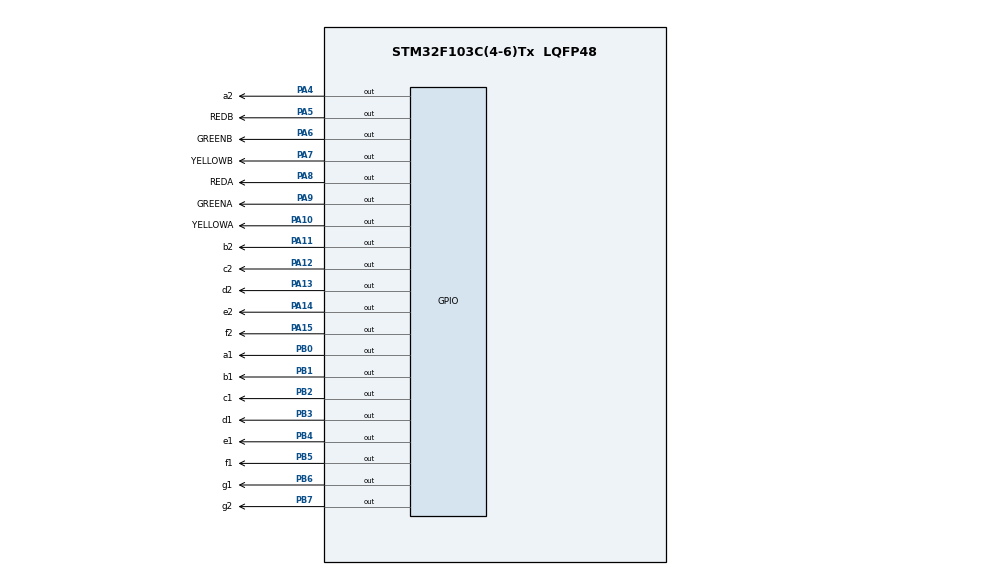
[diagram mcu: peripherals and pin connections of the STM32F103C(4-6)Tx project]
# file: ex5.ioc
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Mcu.Family=STM32F1
Mcu.Name=STM32F103C(4-6)Tx
Mcu.Package=LQFP48
NVIC.PriorityGroup=NVIC_PRIORITYGROUP_4
PA10.GPIO_Label=YELLOWA
PA10.Signal=GPIO_Output
PA11.GPIO_Label=b2
PA11.Signal=GPIO_Output
PA12.GPIO_Label=c2
PA12.Signal=GPIO_Output
PA13.GPIO_Label=d2
PA13.Signal=GPIO_Output
PA14.GPIO_Label=e2
PA14.Signal=GPIO_Output
PA15.GPIO_Label=f2
PA15.Signal=GPIO_Output
PA4.GPIO_Label=a2
PA4.Signal=GPIO_Output
PA5.GPIO_Label=REDB
PA5.Signal=GPIO_Output
PA6.GPIO_Label=GREENB
PA6.Signal=GPIO_Output
PA7.GPIO_Label=YELLOWB
PA7.Signal=GPIO_Output
PA8.GPIO_Label=REDA
PA8.Signal=GPIO_Output
PA9.GPIO_Label=GREENA
PA9.Signal=GPIO_Output
PB0.GPIO_Label=a1
PB0.Signal=GPIO_Output
PB1.GPIO_Label=b1
PB1.Signal=GPIO_Output
PB2.GPIO_Label=c1
PB2.Signal=GPIO_Output
PB3.GPIO_Label=d1
PB3.Signal=GPIO_Output
PB4.GPIO_Label=e1
PB4.Signal=GPIO_Output
PB5.GPIO_Label=f1
PB5.Signal=GPIO_Output
PB6.GPIO_Label=g1
PB6.Signal=GPIO_Output
PB7.GPIO_Label=g2
PB7.Signal=GPIO_Output
ProjectManager.HeapSize=0x200
ProjectManager.StackSize=0x400
ProjectManager.TargetToolchain=STM32CubeIDE
RCC.APB1Freq_Value=8000000
RCC.APB2Freq_Value=8000000
VP_SYS_VS_ND.Mode=No_Debug
board=custom

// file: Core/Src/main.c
/* USER CODE BEGIN Header */
/**
  ******************************************************************************
  * @file           : main.c
  * @brief          : Main program body
  ******************************************************************************
  * @attention
  *
  * <h2><center>&copy; Copyright (c) 2022 STMicroelectronics.
  * All rights reserved.</center></h2>
  *
  * This software component is licensed by ST under BSD 3-Clause license,
  * the "License"; You may not use this file except in compliance with the
  * License. You may obtain a copy of the License at:
  *                        opensource.org/licenses/BSD-3-Clause
  *
  ******************************************************************************
  */
/* USER CODE END Header */
#include "main.h"

void SystemClock_Config(void);
static void MX_GPIO_Init(void);

/* USER CODE BEGIN 0 */
void display7SEG_Group1(int num);
void display7SEG_Group2(int num);

void display7SEG_Group1(int num)
{
	if(num == 0)
	{
		HAL_GPIO_WritePin(a1_GPIO_Port, a1_Pin, GPIO_PIN_RESET);
		HAL_GPIO_WritePin(b1_GPIO_Port, b1_Pin, GPIO_PIN_RESET);
		HAL_GPIO_WritePin(c1_GPIO_Port, c1_Pin, GPIO_PIN_RESET);
		HAL_GPIO_WritePin(d1_GPIO_Port, d1_Pin, GPIO_PIN_RESET);
		HAL_GPIO_WritePin(e1_GPIO_Port, e1_Pin, GPIO_PIN_RESET);
		HAL_GPIO_WritePin(f1_GPIO_Port, f1_Pin, GPIO_PIN_RESET);
		HAL_GPIO_WritePin(g1_GPIO_Port, g1_Pin, GPIO_PIN_SET);
	}
	if(num == 1)
	{
		HAL_GPIO_WritePin(a1_GPIO_Port, a1_Pin, GPIO_PIN_SET);
		HAL_GPIO_WritePin(b1_GPIO_Port, b1_Pin, GPIO_PIN_RESET);
		HAL_GPIO_WritePin(c1_GPIO_Port, c1_Pin, GPIO_PIN_RESET);
		HAL_GPIO_WritePin(d1_GPIO_Port, d1_Pin, GPIO_PIN_SET);
		HAL_GPIO_WritePin(e1_GPIO_Port, e1_Pin, GPIO_PIN_SET);
		HAL_GPIO_WritePin(f1_GPIO_Port, f1_Pin, GPIO_PIN_SET);
		HAL_GPIO_WritePin(g1_GPIO_Port, g1_Pin, GPIO_PIN_SET);
	}
	if(num == 2)
	{
		HAL_GPIO_WritePin(a1_GPIO_Port, a1_Pin, GPIO_PIN_RESET);
		HAL_GPIO_WritePin(b1_GPIO_Port, b1_Pin, GPIO_PIN_RESET);
		HAL_GPIO_WritePin(c1_GPIO_Port, c1_Pin, GPIO_PIN_SET);
		HAL_GPIO_WritePin(d1_GPIO_Port, d1_Pin, GPIO_PIN_RESET);
		HAL_GPIO_WritePin(e1_GPIO_Port, e1_Pin, GPIO_PIN_RESET);
		HAL_GPIO_WritePin(f1_GPIO_Port, f1_Pin, GPIO_PIN_SET);
		HAL_GPIO_WritePin(g1_GPIO_Port, g1_Pin, GPIO_PIN_RESET);

	}
	if(num == 3)
	{
		HAL_GPIO_WritePin(a1_GPIO_Port, a1_Pin, GPIO_PIN_RESET);
		HAL_GPIO_WritePin(b1_GPIO_Port, b1_Pin, GPIO_PIN_RESET);
		HAL_GPIO_WritePin(c1_GPIO_Port, c1_Pin, GPIO_PIN_RESET);
		HAL_GPIO_WritePin(d1_GPIO_Port, d1_Pin, GPIO_PIN_RESET);
		HAL_GPIO_WritePin(e1_GPIO_Port, e1_Pin, GPIO_PIN_SET);
		HAL_GPIO_WritePin(f1_GPIO_Port, f1_Pin, GPIO_PIN_SET);
		HAL_GPIO_WritePin(g1_GPIO_Port, g1_Pin, GPIO_PIN_RESET);

	}
	if(num == 4)
	{
		HAL_GPIO_WritePin(a1_GPIO_Port, a1_Pin, GPIO_PIN_SET);
		HAL_GPIO_WritePin(b1_GPIO_Port, b1_Pin, GPIO_PIN_RESET);
		HAL_GPIO_WritePin(c1_GPIO_Port, c1_Pin, GPIO_PIN_RESET);
		HAL_GPIO_WritePin(d1_GPIO_Port, d1_Pin, GPIO_PIN_SET);
		HAL_GPIO_WritePin(e1_GPIO_Port, e1_Pin, GPIO_PIN_SET);
		HAL_GPIO_WritePin(f1_GPIO_Port, f1_Pin, GPIO_PIN_RESET);
		HAL_GPIO_WritePin(g1_GPIO_Port, g1_Pin, GPIO_PIN_RESET);

	}
	if(num == 5)
	{
		HAL_GPIO_WritePin(a1_GPIO_Port, a1_Pin, GPIO_PIN_RESET);
		HAL_GPIO_WritePin(b1_GPIO_Port, b1_Pin, GPIO_PIN_SET);
		HAL_GPIO_WritePin(c1_GPIO_Port, c1_Pin, GPIO_PIN_RESET);
		HAL_GPIO_WritePin(d1_GPIO_Port, d1_Pin, GPIO_PIN_RESET);
		HAL_GPIO_WritePin(e1_GPIO_Port, e1_Pin, GPIO_PIN_SET);
		HAL_GPIO_WritePin(f1_GPIO_Port, f1_Pin, GPIO_PIN_RESET);
		HAL_GPIO_WritePin(g1_GPIO_Port, g1_Pin, GPIO_PIN_RESET);
	}
	if(num == 6)
	{
		HAL_GPIO_WritePin(a1_GPIO_Port, a1_Pin, GPIO_PIN_RESET);
		HAL_GPIO_WritePin(b1_GPIO_Port, b1_Pin, GPIO_PIN_SET);
		HAL_GPIO_WritePin(c1_GPIO_Port, c1_Pin, GPIO_PIN_RESET);
		HAL_GPIO_WritePin(d1_GPIO_Port, d1_Pin, GPIO_PIN_RESET);
		HAL_GPIO_WritePin(e1_GPIO_Port, e1_Pin, GPIO_PIN_RESET);
		HAL_GPIO_WritePin(f1_GPIO_Port, f1_Pin, GPIO_PIN_RESET);
		HAL_GPIO_WritePin(g1_GPIO_Port, g1_Pin, GPIO_PIN_RESET);
	}
	if(num == 7)
	{
		HAL_GPIO_WritePin(a1_GPIO_Port, a1_Pin, GPIO_PIN_RESET);
		HAL_GPIO_WritePin(b1_GPIO_Port, b1_Pin, GPIO_PIN_RESET);
		HAL_GPIO_WritePin(c1_GPIO_Port, c1_Pin, GPIO_PIN_RESET);
		HAL_GPIO_WritePin(d1_GPIO_Port, d1_Pin, GPIO_PIN_SET);
		HAL_GPIO_WritePin(e1_GPIO_Port, e1_Pin, GPIO_PIN_SET);
		HAL_GPIO_WritePin(f1_GPIO_Port, f1_Pin, GPIO_PIN_SET);
		HAL_GPIO_WritePin(g1_GPIO_Port, g1_Pin, GPIO_PIN_SET);
	}
	if(num == 8)
	{
		HAL_GPIO_WritePin(a1_GPIO_Port, a1_Pin, GPIO_PIN_RESET);
		HAL_GPIO_WritePin(b1_GPIO_Port, b1_Pin, GPIO_PIN_RESET);
		HAL_GPIO_WritePin(c1_GPIO_Port, c1_Pin, GPIO_PIN_RESET);
		HAL_GPIO_WritePin(d1_GPIO_Port, d1_Pin, GPIO_PIN_RESET);
		HAL_GPIO_WritePin(e1_GPIO_Port, e1_Pin, GPIO_PIN_RESET);
		HAL_GPIO_WritePin(f1_GPIO_Port, f1_Pin, GPIO_PIN_RESET);
		HAL_GPIO_WritePin(g1_GPIO_Port, g1_Pin, GPIO_PIN_RESET);
	}
	if(num == 9)
	{
		HAL_GPIO_WritePin(a1_GPIO_Port, a1_Pin, GPIO_PIN_RESET);
		HAL_GPIO_WritePin(b1_GPIO_Port, b1_Pin, GPIO_PIN_RESET);
		HAL_GPIO_WritePin(c1_GPIO_Port, c1_Pin, GPIO_PIN_RESET);
		HAL_GPIO_WritePin(d1_GPIO_Port, d1_Pin, GPIO_PIN_RESET);
		HAL_GPIO_WritePin(e1_GPIO_Port, e1_Pin, GPIO_PIN_SET);
		HAL_GPIO_WritePin(f1_GPIO_Port, f1_Pin, GPIO_PIN_RESET);
		HAL_GPIO_WritePin(g1_GPIO_Port, g1_Pin, GPIO_PIN_RESET);
	}
}

void display7SEG_Group2(int num)
{
	if(num == 0)
	{

		HAL_GPIO_WritePin(a2_GPIO_Port, a2_Pin, GPIO_PIN_RESET);
		HAL_GPIO_WritePin(b2_GPIO_Port, b2_Pin, GPIO_PIN_RESET);
		HAL_GPIO_WritePin(c2_GPIO_Port, c2_Pin, GPIO_PIN_RESET);
		HAL_GPIO_WritePin(d2_GPIO_Port, d2_Pin, GPIO_PIN_RESET);
		HAL_GPIO_WritePin(e2_GPIO_Port, e2_Pin, GPIO_PIN_RESET);
		HAL_GPIO_WritePin(f2_GPIO_Port, f2_Pin, GPIO_PIN_RESET);
		HAL_GPIO_WritePin(g2_GPIO_Port, g2_Pin, GPIO_PIN_SET);
	}
	if(num == 1)
	{

		HAL_GPIO_WritePin(a2_GPIO_Port, a2_Pin, GPIO_PIN_SET);
		HAL_GPIO_WritePin(b2_GPIO_Port, b2_Pin, GPIO_PIN_RESET);
		HAL_GPIO_WritePin(c2_GPIO_Port, c2_Pin, GPIO_PIN_RESET);
		HAL_GPIO_WritePin(d2_GPIO_Port, d2_Pin, GPIO_PIN_SET);
		HAL_GPIO_WritePin(e2_GPIO_Port, e2_Pin, GPIO_PIN_SET);
		HAL_GPIO_WritePin(f2_GPIO_Port, f2_Pin, GPIO_PIN_SET);
		HAL_GPIO_WritePin(g2_GPIO_Port, g2_Pin, GPIO_PIN_SET);
	}
	if(num == 2)
	{

		HAL_GPIO_WritePin(a2_GPIO_Port, a2_Pin, GPIO_PIN_RESET);
		HAL_GPIO_WritePin(b2_GPIO_Port, b2_Pin, GPIO_PIN_RESET);
		HAL_GPIO_WritePin(c2_GPIO_Port, c2_Pin, GPIO_PIN_SET);
		HAL_GPIO_WritePin(d2_GPIO_Port, d2_Pin, GPIO_PIN_RESET);
		HAL_GPIO_WritePin(e2_GPIO_Port, e2_Pin, GPIO_PIN_RESET);
		HAL_GPIO_WritePin(f2_GPIO_Port, f2_Pin, GPIO_PIN_SET);
		HAL_GPIO_WritePin(g2_GPIO_Port, g2_Pin, GPIO_PIN_RESET);

	}
	if(num == 3)
	{

		HAL_GPIO_WritePin(a2_GPIO_Port, a2_Pin, GPIO_PIN_RESET);
		HAL_GPIO_WritePin(b2_GPIO_Port, b2_Pin, GPIO_PIN_RESET);
		HAL_GPIO_WritePin(c2_GPIO_Port, c2_Pin, GPIO_PIN_RESET);
		HAL_GPIO_WritePin(d2_GPIO_Port, d2_Pin, GPIO_PIN_RESET);
		HAL_GPIO_WritePin(e2_GPIO_Port, e2_Pin, GPIO_PIN_SET);
		HAL_GPIO_WritePin(f2_GPIO_Port, f2_Pin, GPIO_PIN_SET);
		HAL_GPIO_WritePin(g2_GPIO_Port, g2_Pin, GPIO_PIN_RESET);

	}
	if(num == 4)
	{
		HAL_GPIO_WritePin(a2_GPIO_Port, a2_Pin, GPIO_PIN_SET);
		HAL_GPIO_WritePin(b2_GPIO_Port, b2_Pin, GPIO_PIN_RESET);
		HAL_GPIO_WritePin(c2_GPIO_Port, c2_Pin, GPIO_PIN_RESET);
		HAL_GPIO_WritePin(d2_GPIO_Port, d2_Pin, GPIO_PIN_SET);
		HAL_GPIO_WritePin(e2_GPIO_Port, e2_Pin, GPIO_PIN_SET);
		HAL_GPIO_WritePin(f2_GPIO_Port, f2_Pin, GPIO_PIN_RESET);
		HAL_GPIO_WritePin(g2_GPIO_Port, g2_Pin, GPIO_PIN_RESET);
	}
	if(num == 5)
	{

		HAL_GPIO_WritePin(a2_GPIO_Port, a2_Pin, GPIO_PIN_RESET);
		HAL_GPIO_WritePin(b2_GPIO_Port, b2_Pin, GPIO_PIN_SET);
		HAL_GPIO_WritePin(c2_GPIO_Port, c2_Pin, GPIO_PIN_RESET);
		HAL_GPIO_WritePin(d2_GPIO_Port, d2_Pin, GPIO_PIN_RESET);
		HAL_GPIO_WritePin(e2_GPIO_Port, e2_Pin, GPIO_PIN_SET);
		HAL_GPIO_WritePin(f2_GPIO_Port, f2_Pin, GPIO_PIN_RESET);
		HAL_GPIO_WritePin(g2_GPIO_Port, g2_Pin, GPIO_PIN_RESET);
	}
	if(num == 6)
	{
		HAL_GPIO_WritePin(a2_GPIO_Port, a2_Pin, GPIO_PIN_RESET);
		HAL_GPIO_WritePin(b2_GPIO_Port, b2_Pin, GPIO_PIN_SET);
		HAL_GPIO_WritePin(c2_GPIO_Port, c2_Pin, GPIO_PIN_RESET);
		HAL_GPIO_WritePin(d2_GPIO_Port, d2_Pin, GPIO_PIN_RESET);
		HAL_GPIO_WritePin(e2_GPIO_Port, e2_Pin, GPIO_PIN_RESET);
		HAL_GPIO_WritePin(f2_GPIO_Port, f2_Pin, GPIO_PIN_RESET);
		HAL_GPIO_WritePin(g2_GPIO_Port, g2_Pin, GPIO_PIN_RESET);
	}
	if(num == 7)
	{

		HAL_GPIO_WritePin(a2_GPIO_Port, a2_Pin, GPIO_PIN_RESET);
		HAL_GPIO_WritePin(b2_GPIO_Port, b2_Pin, GPIO_PIN_RESET);
		HAL_GPIO_WritePin(c2_GPIO_Port, c2_Pin, GPIO_PIN_RESET);
		HAL_GPIO_WritePin(d2_GPIO_Port, d2_Pin, GPIO_PIN_SET);
		HAL_GPIO_WritePin(e2_GPIO_Port, e2_Pin, GPIO_PIN_SET);
		HAL_GPIO_WritePin(f2_GPIO_Port, f2_Pin, GPIO_PIN_SET);
		HAL_GPIO_WritePin(g2_GPIO_Port, g2_Pin, GPIO_PIN_SET);

	}
	if(num == 8)
	{
		HAL_GPIO_WritePin(a2_GPIO_Port, a2_Pin, GPIO_PIN_RESET);
		HAL_GPIO_WritePin(b2_GPIO_Port, b2_Pin, GPIO_PIN_RESET);
		HAL_GPIO_WritePin(c2_GPIO_Port, c2_Pin, GPIO_PIN_RESET);
		HAL_GPIO_WritePin(d2_GPIO_Port, d2_Pin, GPIO_PIN_RESET);
		HAL_GPIO_WritePin(e2_GPIO_Port, e2_Pin, GPIO_PIN_RESET);
		HAL_GPIO_WritePin(f2_GPIO_Port, f2_Pin, GPIO_PIN_RESET);
		HAL_GPIO_WritePin(g2_GPIO_Port, g2_Pin, GPIO_PIN_RESET);
	}
	if(num == 9)
	{
		HAL_GPIO_WritePin(a2_GPIO_Port, a2_Pin, GPIO_PIN_RESET);
		HAL_GPIO_WritePin(b2_GPIO_Port, b2_Pin, GPIO_PIN_RESET);
		HAL_GPIO_WritePin(c2_GPIO_Port, c2_Pin, GPIO_PIN_RESET);
		HAL_GPIO_WritePin(d2_GPIO_Port, d2_Pin, GPIO_PIN_RESET);
		HAL_GPIO_WritePin(e2_GPIO_Port, e2_Pin, GPIO_PIN_SET);
		HAL_GPIO_WritePin(f2_GPIO_Port, f2_Pin, GPIO_PIN_RESET);
		HAL_GPIO_WritePin(g2_GPIO_Port, g2_Pin, GPIO_PIN_RESET);
	}
}

/* USER CODE END 0 */

int main(void)
{

  /* MCU Configuration--------------------------------------------------------*/

  /* Reset of all peripherals, Initializes the Flash interface and the Systick. */
  HAL_Init();

  /* Configure the system clock */
  SystemClock_Config();

  /* Initialize all configured peripherals */
  MX_GPIO_Init();

  /* Infinite loop */
  /* USER CODE BEGIN WHILE */
  // initial for group1
  int Yellow_Count_Group1 = 2;
  int Red_Count_Group1 = 4;
  int Green_Count_Group1 = 3;

  int Yellow_Status_Group1 = 0;
  int Red_Status_Group1 = 0;
  int Green_Status_Group1 = 1;

  //initial for group2
  int Yellow_Count_Group2 = 1;
  int Red_Count_Group2 = 5;
  int Green_Count_Group2 = 3;

  int Yellow_Status_Group2 = 0;
  int Red_Status_Group2 = 1;
  int Green_Status_Group2 = 0;

  while (1)
  {
    /* USER CODE END WHILE */

    /* USER CODE BEGIN 3 */

	  //-------begin group1 ( group horizontal)--------
	  // in group1, green-led bright first

	  //green-led will turn on in 3 seconds untill green-status=0
	  if(Green_Status_Group1 == 1)
	  {
		  display7SEG_Group1(Green_Count_Group1);// display number countdown in led-7segment
		  HAL_GPIO_WritePin(GREENA_GPIO_Port,GREENA_Pin,GPIO_PIN_SET);
		  HAL_GPIO_WritePin(REDA_GPIO_Port,REDA_Pin,GPIO_PIN_RESET);

		  if(Green_Count_Group1 == 0)
		  {
			 Green_Status_Group1 = 0;// green-led turn off
			 Green_Count_Group1 = 4;// update time of green-led
			 HAL_GPIO_WritePin(GREENA_GPIO_Port,GREENA_Pin,GPIO_PIN_RESET);
			 Yellow_Status_Group1 = 1;//yellow-led turn on
		  }
		  Green_Count_Group1 --;

	  }

	  // yellow-led will turn on in 2 seconds untill yellow-status=0
	  if(Yellow_Status_Group1 == 1)
	  {
		  display7SEG_Group1(Yellow_Count_Group1);// display number countdown in led-7segment
		  HAL_GPIO_WritePin(YELLOWA_GPIO_Port,YELLOWA_Pin,GPIO_PIN_SET);
		  if(Yellow_Count_Group1 == 0)
		  {
			  Yellow_Status_Group1 = 0;// yellow-led turn off
			  Yellow_Count_Group1 = 3;// update time of yellow-led
			  HAL_GPIO_WritePin(YELLOWA_GPIO_Port,YELLOWA_Pin,GPIO_PIN_RESET);
			  Red_Status_Group1 = 1;// red-led turn on
		  }
		  Yellow_Count_Group1 --;
	  }

	  // red-led will turn on in 5 seconds untill red-status=0
	  if(Red_Status_Group1 == 1)
	  {
		  display7SEG_Group1(Red_Count_Group1 + 1);// display number countdown in led-7segment
		  HAL_GPIO_WritePin(REDA_GPIO_Port,REDA_Pin,GPIO_PIN_SET);

		  if(Red_Count_Group1 == 0)
		  {
			  Red_Status_Group1 = 0;// red-led turn off
			  Red_Count_Group1 = 5;// update time of red-led
			  Green_Status_Group1 = 1;// green-led turn on
		  }
		  Red_Count_Group1 --;
	  }
	  //---------end group1 ( group horizontal)----------

	  //-------begin group2 ( group vertical)-----------
	  // in group2, red-led bright first

	  // red-led will turn on in 5 seconds untill red-status=0
	  if(Red_Status_Group2 == 1)
	  {
		  display7SEG_Group2(Red_Count_Group2);// display number countdown in led-7segment
		  HAL_GPIO_WritePin(REDB_GPIO_Port, REDB_Pin, GPIO_PIN_SET);
		  HAL_GPIO_WritePin(YELLOWB_GPIO_Port,YELLOWB_Pin,GPIO_PIN_RESET);

		  if(Red_Count_Group2 == 0)
		  {
			 Red_Status_Group2 = 0;// red-led turn off
			 Red_Count_Group2 = 6;// update time of red-led
			 HAL_GPIO_WritePin(REDB_GPIO_Port,REDB_Pin,GPIO_PIN_RESET);
			 Green_Status_Group2 = 1;// green-led turn on
		  }
		  Red_Count_Group2 --;
	  }

	  //green-led will turn on in 3 seconds untill green-status=0
	  if(Green_Status_Group2 == 1)
	  {
		  display7SEG_Group2(Green_Count_Group2);// display number countdown in led-7segment
		  HAL_GPIO_WritePin(GREENB_GPIO_Port,GREENB_Pin,GPIO_PIN_SET);

		  if(Green_Count_Group2 == 0)
		  {
			 Green_Status_Group2 = 0;// green-led turn off
			 Green_Count_Group2 = 4;// update time of green-led
			 HAL_GPIO_WritePin(GREENB_GPIO_Port,GREENB_Pin,GPIO_PIN_RESET);
			 Yellow_Status_Group2 = 1;//yellow-led turn on
		  }
		  Green_Count_Group2 --;
	  }

	  //yellow-led will turn on in 3 seconds untill yellow-status=0
	  if(Yellow_Status_Group2 == 1)
	  {
		  display7SEG_Group2(Yellow_Count_Group2 + 1);// display number countdown in led-7segment
		  HAL_GPIO_WritePin(YELLOWB_GPIO_Port,YELLOWB_Pin,GPIO_PIN_SET);

		  if(Yellow_Count_Group2 == 0)
		  {
			  Yellow_Status_Group2 = 0;// yellow-led turn off
			  Yellow_Count_Group2 = 2;// update time of yellow-led
			  Red_Status_Group2 = 1;// red-led turn on
		  }
		  Yellow_Count_Group2 --;
	  }
	  //---------end group2 ( group vertical)-------------

	  HAL_Delay(1000);
  }
  /* USER CODE END 3 */
}

void SystemClock_Config(void)
{
  RCC_OscInitTypeDef RCC_OscInitStruct = {0};
  RCC_ClkInitTypeDef RCC_ClkInitStruct = {0};

  /** Initializes the RCC Oscillators according to the specified parameters
  * in the RCC_OscInitTypeDef structure.
  */
  RCC_OscInitStruct.OscillatorType = RCC_OSCILLATORTYPE_HSI;
  RCC_OscInitStruct.HSIState = RCC_HSI_ON;
  RCC_OscInitStruct.HSICalibrationValue = RCC_HSICALIBRATION_DEFAULT;
  RCC_OscInitStruct.PLL.PLLState = RCC_PLL_NONE;
  if (HAL_RCC_OscConfig(&RCC_OscInitStruct) != HAL_OK)
  {
    Error_Handler();
  }
  /** Initializes the CPU, AHB and APB buses clocks
  */
  RCC_ClkInitStruct.ClockType = RCC_CLOCKTYPE_HCLK|RCC_CLOCKTYPE_SYSCLK
                              |RCC_CLOCKTYPE_PCLK1|RCC_CLOCKTYPE_PCLK2;
  RCC_ClkInitStruct.SYSCLKSource = RCC_SYSCLKSOURCE_HSI;
  RCC_ClkInitStruct.AHBCLKDivider = RCC_SYSCLK_DIV1;
  RCC_ClkInitStruct.APB1CLKDivider = RCC_HCLK_DIV1;
  RCC_ClkInitStruct.APB2CLKDivider = RCC_HCLK_DIV1;

  if (HAL_RCC_ClockConfig(&RCC_ClkInitStruct, FLASH_LATENCY_0) != HAL_OK)
  {
    Error_Handler();
  }
}

static void MX_GPIO_Init(void)
{
  GPIO_InitTypeDef GPIO_InitStruct = {0};

  /* GPIO Ports Clock Enable */
  __HAL_RCC_GPIOA_CLK_ENABLE();
  __HAL_RCC_GPIOB_CLK_ENABLE();

  /*Configure GPIO pin Output Level */
  HAL_GPIO_WritePin(GPIOA, a2_Pin|REDB_Pin|GREENB_Pin|YELLOWB_Pin
                          |REDA_Pin|GREENA_Pin|YELLOWA_Pin|b2_Pin
                          |c2_Pin|d2_Pin|e2_Pin|f2_Pin, GPIO_PIN_RESET);

  /*Configure GPIO pin Output Level */
  HAL_GPIO_WritePin(GPIOB, a1_Pin|b1_Pin|c1_Pin|d1_Pin
                          |e1_Pin|f1_Pin|g1_Pin|g2_Pin, GPIO_PIN_RESET);

  /*Configure GPIO pins : a2_Pin REDB_Pin GREENB_Pin YELLOWB_Pin
                           REDA_Pin GREENA_Pin YELLOWA_Pin b2_Pin
                           c2_Pin d2_Pin e2_Pin f2_Pin */
  GPIO_InitStruct.Pin = a2_Pin|REDB_Pin|GREENB_Pin|YELLOWB_Pin
                          |REDA_Pin|GREENA_Pin|YELLOWA_Pin|b2_Pin
                          |c2_Pin|d2_Pin|e2_Pin|f2_Pin;
  GPIO_InitStruct.Mode = GPIO_MODE_OUTPUT_PP;
  GPIO_InitStruct.Pull = GPIO_NOPULL;
  GPIO_InitStruct.Speed = GPIO_SPEED_FREQ_LOW;
  HAL_GPIO_Init(GPIOA, &GPIO_InitStruct);

  /*Configure GPIO pins : a1_Pin b1_Pin c1_Pin d1_Pin
                           e1_Pin f1_Pin g1_Pin g2_Pin */
  GPIO_InitStruct.Pin = a1_Pin|b1_Pin|c1_Pin|d1_Pin
                          |e1_Pin|f1_Pin|g1_Pin|g2_Pin;
  GPIO_InitStruct.Mode = GPIO_MODE_OUTPUT_PP;
  GPIO_InitStruct.Pull = GPIO_NOPULL;
  GPIO_InitStruct.Speed = GPIO_SPEED_FREQ_LOW;
  HAL_GPIO_Init(GPIOB, &GPIO_InitStruct);

}

void Error_Handler(void)
{
  __disable_irq();
  while (1)
  {
  }
}

/************************ (C) COPYRIGHT STMicroelectronics *****END OF FILE****/
